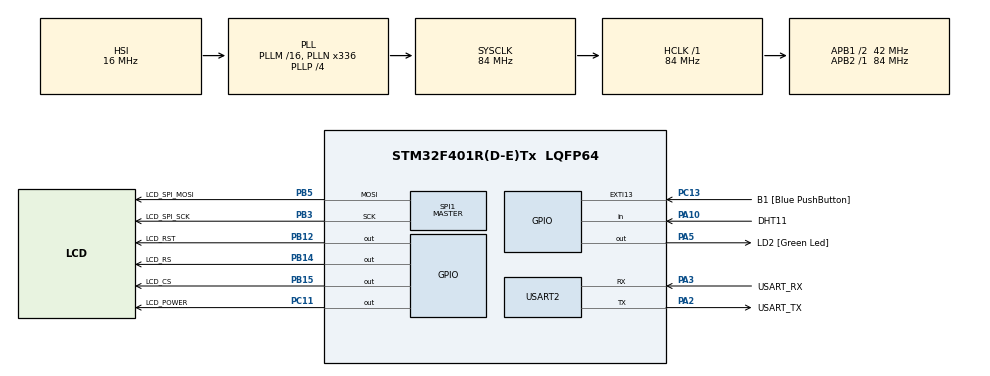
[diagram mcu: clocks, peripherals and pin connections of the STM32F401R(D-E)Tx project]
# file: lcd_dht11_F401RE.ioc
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FREERTOS.Tasks01=defaultTask,0,128,StartDefaultTask,Default,NULL,Dynamic,NULL,NULL
FREERTOS.configTOTAL_HEAP_SIZE=30720
Mcu.Family=STM32F4
Mcu.Name=STM32F401R(D-E)Tx
Mcu.Package=LQFP64
NVIC.EXTI15_10_IRQn=true\:5\:0\:false\:false\:true\:true\:true\:true\:true
NVIC.PriorityGroup=NVIC_PRIORITYGROUP_4
NVIC.TIM1_BRK_TIM9_IRQn=true\:5\:0\:false\:false\:true\:true\:true\:true\:true
NVIC.TIM1_TRG_COM_TIM11_IRQn=true\:15\:0\:false\:false\:true\:false\:false\:true\:true
NVIC.TIM1_UP_TIM10_IRQn=true\:5\:0\:false\:false\:true\:true\:true\:true\:true
NVIC.TimeBase=TIM1_TRG_COM_TIM11_IRQn
NVIC.TimeBaseIP=TIM11
PA10.GPIO_Label=DHT11
PA10.Signal=GPIO_Input
PA13.GPIO_Label=TMS
PA13.Mode=Serial_Wire
PA13.Signal=SYS_JTMS-SWDIO
PA14.GPIO_Label=TCK
PA14.Mode=Serial_Wire
PA14.Signal=SYS_JTCK-SWCLK
PA2.GPIO_Label=USART_TX
PA2.GPIO_Mode=GPIO_MODE_AF_PP
PA2.GPIO_PuPd=GPIO_NOPULL
PA2.GPIO_Speed=GPIO_SPEED_FREQ_LOW
PA2.Mode=Asynchronous
PA2.Signal=USART2_TX
PA3.GPIO_Label=USART_RX
PA3.GPIO_Mode=GPIO_MODE_AF_PP
PA3.GPIO_PuPd=GPIO_NOPULL
PA3.GPIO_Speed=GPIO_SPEED_FREQ_LOW
PA3.Mode=Asynchronous
PA3.Signal=USART2_RX
PA5.GPIO_Label=LD2 [Green Led]
PA5.GPIO_Mode=GPIO_MODE_OUTPUT_PP
PA5.GPIO_PuPd=GPIO_NOPULL
PA5.GPIO_Speed=GPIO_SPEED_FREQ_LOW
PA5.Signal=GPIO_Output
PB12.GPIO_Label=LCD_RST
PB12.Signal=GPIO_Output
PB14.GPIO_Label=LCD_RS
PB14.Signal=GPIO_Output
PB15.GPIO_Label=LCD_CS
PB15.Signal=GPIO_Output
PB3.GPIO_Label=LCD_SPI_SCK
PB3.Mode=TX_Only_Simplex_Unidirect_Master
PB3.Signal=SPI1_SCK
PB5.GPIO_Label=LCD_SPI_MOSI
PB5.Mode=TX_Only_Simplex_Unidirect_Master
PB5.Signal=SPI1_MOSI
PC11.GPIO_Label=LCD_POWER
PC11.PinState=GPIO_PIN_SET
PC11.Signal=GPIO_Output
PC13-ANTI_TAMP.GPIO_Label=B1 [Blue PushButton]
PC13-ANTI_TAMP.GPIO_ModeDefaultEXTI=GPIO_MODE_IT_FALLING
PC13-ANTI_TAMP.GPIO_PuPd=GPIO_NOPULL
PC13-ANTI_TAMP.Signal=GPXTI13
ProjectManager.HeapSize=0x200
ProjectManager.StackSize=0x400
ProjectManager.TargetToolchain=STM32CubeIDE
RCC.48MHZClocksFreq_Value=48000000
RCC.AHBFreq_Value=84000000
RCC.APB1CLKDivider=RCC_HCLK_DIV2
RCC.APB1Freq_Value=42000000
RCC.APB1TimFreq_Value=84000000
RCC.APB2Freq_Value=84000000
RCC.APB2TimFreq_Value=84000000
RCC.CortexFreq_Value=84000000
RCC.HCLKFreq_Value=84000000
RCC.HSE_VALUE=8000000
RCC.HSI_VALUE=16000000
RCC.LSE_VALUE=32768
RCC.PLLN=336
RCC.PLLP=RCC_PLLP_DIV4
RCC.PLLQ=7
RCC.SYSCLKFreq_VALUE=84000000
RCC.SYSCLKSource=RCC_SYSCLKSOURCE_PLLCLK
RCC.VCOOutputFreq_Value=336000000
SPI1.Direction=SPI_DIRECTION_2LINES
SPI1.Mode=SPI_MODE_MASTER
SPI1.VirtualType=VM_MASTER
TIM10.Prescaler=84-1
TIM9.Period=10000-1
TIM9.Prescaler=8400-1
USART2.VirtualMode=VM_ASYNC
VP_FREERTOS_VS_CMSIS_V1.Mode=CMSIS_V1
VP_SYS_VS_tim11.Mode=TIM11
VP_TIM10_VS_ClockSourceINT.Mode=Enable_Timer
VP_TIM9_VS_ClockSourceINT.Mode=Internal
board=NUCLEO-F401RE

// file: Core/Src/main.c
/* USER CODE BEGIN Header */
/**
 ******************************************************************************
 * @file           : main.c
 * @brief          : Main program body
 ******************************************************************************
 * @attention
 *
 * Copyright (c) 2024 STMicroelectronics.
 * All rights reserved.
 *
 * This software is licensed under terms that can be found in the LICENSE file
 * in the root directory of this software component.
 * If no LICENSE file comes with this software, it is provided AS-IS.
 *
 ******************************************************************************
 */
/* USER CODE END Header */
#include "main.h"
#include "cmsis_os.h"
#include "spi.h"
#include "tim.h"
#include "usart.h"
#include "gpio.h"

/* USER CODE BEGIN Includes */
#include <stdio.h>
#include <string.h>
#include "ili9341.h"
#include "fonts.h"
/* USER CODE END Includes */

/* USER CODE BEGIN PTD */
typedef struct{
	uint16_t average_temp;
	uint64_t time_idx;
	uint16_t average_by_the_hour[10];
}eeStorage_t;
/* USER CODE END PTD */

/* USER CODE BEGIN PD */
#define DEFAULT_STACK_SIZE 2048
/* USER CODE END PD */

/* USER CODE BEGIN PV */
eeStorage_t ee;

TaskHandle_t h_lcd_task = NULL;
TaskHandle_t h_DHT11_task = NULL;
TaskHandle_t h_stat_task = NULL;

uint8_t screen_power = 1;
uint16_t average_by_the_hour[10];

SemaphoreHandle_t DHT11_sema;
SemaphoreHandle_t stat_sema;

float Temperature = 0;
float Humidity = 0;
uint8_t Presence = 0;
uint8_t Rh_byte1, Rh_byte2, Temp_byte1, Temp_byte2;
uint16_t SUM, RH, TEMP;
/* USER CODE END PV */

void SystemClock_Config(void);
void MX_FREERTOS_Init(void);
/* USER CODE BEGIN PFP */
int __io_putchar(int ch){
	HAL_UART_Transmit(&huart2, (uint8_t *)&ch, 1, HAL_MAX_DELAY);
	return ch;
}

void delay(uint16_t time){
	__HAL_TIM_SET_COUNTER(&htim10, 0);
	while((__HAL_TIM_GET_COUNTER(&htim10))<time);
}

void HAL_GPIO_EXTI_Callback(uint16_t GPIO_Pin){
	if(GPIO_Pin == B1_Pin){
		HAL_GPIO_TogglePin(LCD_POWER_GPIO_Port, LCD_POWER_Pin);
		screen_power=!screen_power;
	}
}

void Set_Pin_Output(GPIO_TypeDef *GPIOx, uint16_t GPIO_Pin){
	GPIO_InitTypeDef GPIO_InitStruct = {0};
	GPIO_InitStruct.Pin = GPIO_Pin;
	GPIO_InitStruct.Mode = GPIO_MODE_OUTPUT_PP;
	GPIO_InitStruct.Speed = GPIO_SPEED_FREQ_LOW;
	HAL_GPIO_Init(GPIOx, &GPIO_InitStruct);
}

void Set_Pin_Input(GPIO_TypeDef *GPIOx, uint16_t GPIO_Pin){
	GPIO_InitTypeDef GPIO_InitStruct = {0};
	GPIO_InitStruct.Pin = GPIO_Pin;
	GPIO_InitStruct.Mode = GPIO_MODE_INPUT;
	GPIO_InitStruct.Pull = GPIO_NOPULL;
	HAL_GPIO_Init(GPIOx, &GPIO_InitStruct);
}

void DHT11_Start (void){
	Set_Pin_Output(DHT11_GPIO_Port, DHT11_Pin);  // set the pin as output
	HAL_GPIO_WritePin (DHT11_GPIO_Port, DHT11_Pin, 0);   // pull the pin low
	delay (18000);   // wait for 18ms
	Set_Pin_Input(DHT11_GPIO_Port, DHT11_Pin);    // set as input
}

uint8_t Check_Response (void){
	uint8_t Response = 0;
	delay (40);
	if (!(HAL_GPIO_ReadPin (DHT11_GPIO_Port, DHT11_Pin)))
	{
		delay (80);
		if ((HAL_GPIO_ReadPin (DHT11_GPIO_Port, DHT11_Pin))) Response = 1;
		else Response = -1;
	}
	uint16_t starting_count = __HAL_TIM_GET_COUNTER(&htim9)%5;
	while ((HAL_GPIO_ReadPin (DHT11_GPIO_Port, DHT11_Pin))){
		if((__HAL_TIM_GET_COUNTER(&htim9)%5) == ((starting_count+3)%5)){
			return -1;   // wait for the pin to go low
		}
	}
	return Response;
}

uint8_t DHT11_Read (void){
	uint8_t i,j;
	for (j=0;j<8;j++){
		uint16_t starting_count = __HAL_TIM_GET_COUNTER(&htim9)%5;
		while (!(HAL_GPIO_ReadPin (DHT11_GPIO_Port, DHT11_Pin))){
			if((__HAL_TIM_GET_COUNTER(&htim9)%5) == ((starting_count+3)%5)){
				return -1;   // wait for the pin to go low
			}
		}
		delay (40);   // wait for 40 us
		if (!(HAL_GPIO_ReadPin (DHT11_GPIO_Port, DHT11_Pin)))   // if the pin is low
		{
			i&= ~(1<<(7-j));   // write 0
		}
		else i|= (1<<(7-j));  // if the pin is high, write 1
		starting_count = __HAL_TIM_GET_COUNTER(&htim9)%5;
		while ((HAL_GPIO_ReadPin (DHT11_GPIO_Port, DHT11_Pin))){
			if((__HAL_TIM_GET_COUNTER(&htim9)%5) == ((starting_count+3)%5)){
				return -1;   // wait for the pin to go low
			};  // wait for the pin to go low
		}
	}
	return i;
}

void DHT11_task(void * unused){
	printf("DHT11 task launched\r\n");
	for(;;){
		vTaskDelay(3000);
		DHT11_Start();
		Check_Response();
		Rh_byte1 = DHT11_Read();
		Rh_byte2 = DHT11_Read();
		Temp_byte1 = DHT11_Read();
		Temp_byte2 = DHT11_Read();
		SUM = DHT11_Read();

		TEMP = Temp_byte1;
		RH = Rh_byte1;
		xSemaphoreGive(DHT11_sema);
	}
}

void lcd_task(void * unused){
	printf("lcd task launched\r\n");
	uint8_t toggle=0;
	for(;;){
		if(screen_power == 0){
			vTaskDelay(500);
		}else if(screen_power == 1){
			ILI9341_Unselect();
			ILI9341_Init();
			ILI9341_FillScreen(ILI9341_WHITE);
			screen_power = 2;
		}else{
			xSemaphoreTake(DHT11_sema, portMAX_DELAY);
			uint8_t display_buf[10];
			sprintf((char *)display_buf,"%d",TEMP);
			ILI9341_WriteString(((ILI9341_WIDTH>>1)-(Font_32x52.width + 12)), 0, (const char *)display_buf, Font_32x52, ILI9341_BLACK, ILI9341_WHITE);
			if(toggle%2){
				ILI9341_WriteString(((ILI9341_WIDTH>>1)-(Font_32x52.width + 12)), 0, (const char *)display_buf, Font_32x52, ILI9341_BLUE, ILI9341_WHITE);
			}
			toggle++;
			uint16_t colum_number = 10;
			uint16_t space_btwn_each_colum = 6;
			uint16_t first_space = (space_btwn_each_colum/2)-1;
			uint16_t colum_width = (ILI9341_WIDTH - colum_number*space_btwn_each_colum)/colum_number;
			uint16_t position_x_step = colum_width + (space_btwn_each_colum/2);
			for(int i = first_space; i<ILI9341_WIDTH; i+=position_x_step){
				uint16_t amplitude = ILI9341_HEIGHT-(average_by_the_hour[i/position_x_step]<<2);
				ILI9341_FillRectangle(i,amplitude,colum_width,ILI9341_HEIGHT,ILI9341_RED);
			}
		}
	}
}

void stat_task(void * unused){
	printf("stat task launched\r\n");
	uint16_t average_temp = 0;
	HAL_TIM_Base_Start_IT(&htim9);
	for(uint64_t idx = 0;;idx++){
		xSemaphoreTake(stat_sema, portMAX_DELAY);
		average_temp += TEMP;
		uint64_t is_hour = (idx + 1)%3600;
		//uint64_t is_hour = (idx + 1)%60;
		if(is_hour == 0){
			average_by_the_hour[(idx/3599)-1] = average_temp/3600;
			//average_by_the_hour[(idx/59)-1] = average_temp/60;
			average_temp = 0;
		}
	}
}

/* USER CODE END PFP */

int main(void)
{

	/* MCU Configuration--------------------------------------------------------*/

	/* Reset of all peripherals, Initializes the Flash interface and the Systick. */
	HAL_Init();

	/* Configure the system clock */
	SystemClock_Config();

	/* Initialize all configured peripherals */
	MX_GPIO_Init();
	MX_USART2_UART_Init();
	MX_SPI1_Init();
	MX_TIM10_Init();
	MX_TIM9_Init();
	/* USER CODE BEGIN 2 */
	HAL_TIM_Base_Start(&htim10);
	BaseType_t ret;
	DHT11_sema = xSemaphoreCreateBinary();
	stat_sema = xSemaphoreCreateBinary();
	ret = xTaskCreate(lcd_task, "lcd_task", DEFAULT_STACK_SIZE, NULL, 2, &h_lcd_task);
	if(ret != pdPASS)
	{
		printf("Could not create lcd task\r\n");
		Error_Handler();
	}
	ret = xTaskCreate(DHT11_task, "DHT11_task", DEFAULT_STACK_SIZE, NULL,1, &h_DHT11_task);
	if(ret != pdPASS)
	{
		printf("Could not create DHT11 task\r\n");
		Error_Handler();
	}
	ret = xTaskCreate(stat_task, "stat_task", DEFAULT_STACK_SIZE, NULL,3, &h_stat_task);
	if(ret != pdPASS)
	{
		printf("Could not create stat task\r\n");
		Error_Handler();
	}
	vTaskStartScheduler();
	/* USER CODE END 2 */

	/* Call init function for freertos objects (in freertos.c) */
	MX_FREERTOS_Init();

	/* Start scheduler */
	osKernelStart();

	/* We should never get here as control is now taken by the scheduler */
	/* Infinite loop */
	while (1)
	{

	}
}

void SystemClock_Config(void)
{
	RCC_OscInitTypeDef RCC_OscInitStruct = {0};
	RCC_ClkInitTypeDef RCC_ClkInitStruct = {0};

	/** Configure the main internal regulator output voltage
	 */
	__HAL_RCC_PWR_CLK_ENABLE();
	__HAL_PWR_VOLTAGESCALING_CONFIG(PWR_REGULATOR_VOLTAGE_SCALE2);

	/** Initializes the RCC Oscillators according to the specified parameters
	 * in the RCC_OscInitTypeDef structure.
	 */
	RCC_OscInitStruct.OscillatorType = RCC_OSCILLATORTYPE_HSI;
	RCC_OscInitStruct.HSIState = RCC_HSI_ON;
	RCC_OscInitStruct.HSICalibrationValue = RCC_HSICALIBRATION_DEFAULT;
	RCC_OscInitStruct.PLL.PLLState = RCC_PLL_ON;
	RCC_OscInitStruct.PLL.PLLSource = RCC_PLLSOURCE_HSI;
	RCC_OscInitStruct.PLL.PLLM = 16;
	RCC_OscInitStruct.PLL.PLLN = 336;
	RCC_OscInitStruct.PLL.PLLP = RCC_PLLP_DIV4;
	RCC_OscInitStruct.PLL.PLLQ = 7;
	if (HAL_RCC_OscConfig(&RCC_OscInitStruct) != HAL_OK)
	{
		Error_Handler();
	}

	/** Initializes the CPU, AHB and APB buses clocks
	 */
	RCC_ClkInitStruct.ClockType = RCC_CLOCKTYPE_HCLK|RCC_CLOCKTYPE_SYSCLK
			|RCC_CLOCKTYPE_PCLK1|RCC_CLOCKTYPE_PCLK2;
	RCC_ClkInitStruct.SYSCLKSource = RCC_SYSCLKSOURCE_PLLCLK;
	RCC_ClkInitStruct.AHBCLKDivider = RCC_SYSCLK_DIV1;
	RCC_ClkInitStruct.APB1CLKDivider = RCC_HCLK_DIV2;
	RCC_ClkInitStruct.APB2CLKDivider = RCC_HCLK_DIV1;

	if (HAL_RCC_ClockConfig(&RCC_ClkInitStruct, FLASH_LATENCY_2) != HAL_OK)
	{
		Error_Handler();
	}
}

void HAL_TIM_PeriodElapsedCallback(TIM_HandleTypeDef *htim)
{
	/* USER CODE BEGIN Callback 0 */
	BaseType_t xHigherPriorityTaskToken = pdFALSE;
	if(htim->Instance == TIM9){
		xSemaphoreGiveFromISR(stat_sema, &xHigherPriorityTaskToken);
	}
	/* USER CODE END Callback 0 */
	if (htim->Instance == TIM11) {
		HAL_IncTick();
	}
	/* USER CODE BEGIN Callback 1 */
	portYIELD_FROM_ISR(xHigherPriorityTaskToken);
	/* USER CODE END Callback 1 */
}

void Error_Handler(void)
{
	__disable_irq();
	while (1)
	{
	}
}
